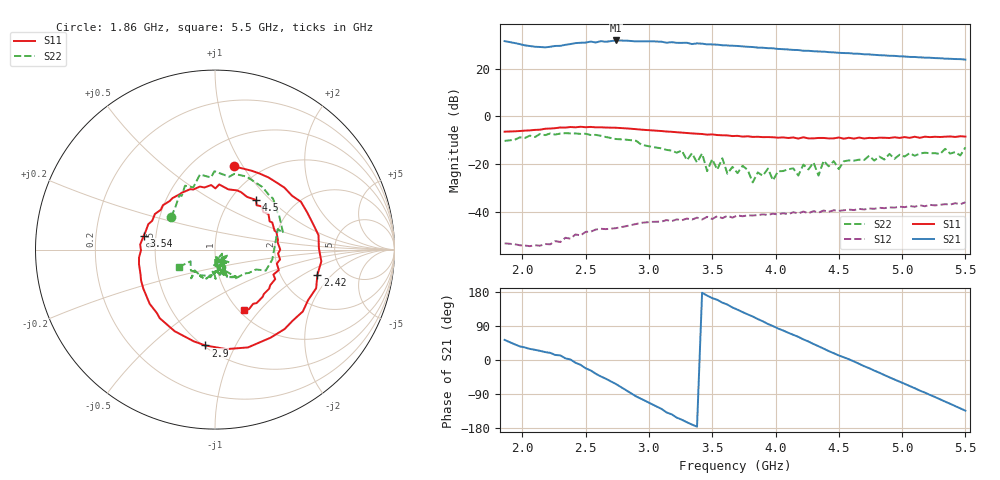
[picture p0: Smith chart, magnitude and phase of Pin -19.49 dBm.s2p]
! RsaToolbox (C) 2015 Rohde & Schwarz America
! Number of points: 86
! Number of ports: 2
! Balanced ports?: No
# Hz S RI R 50
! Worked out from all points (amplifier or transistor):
!   86 points, 1.86 GHz to 5.5 GHz, reference 50 ohm
!   highest |S21| = 31.8 dB at 2.74 GHz (marker M1)
!   |S21| within 3 dB of that: start of sweep to 3.867 GHz
!   unconditionally stable (mu >= 1): start of sweep to end of sweep
!   at 2.46 GHz: K = 2.64, MAG = 33.3 dB, |S12| = -49.9 dB
!   at 3.82 GHz: K = 1.96, MAG = 29.7 dB, |S12| = -41.6 dB
!   at 5.5 GHz: K = 1.74, MAG = 24.9 dB, |S12| = -36.0 dB
!   S11 on the Smith chart (normalised r, x): 1.86 GHz: 0.76, +0.92; 2.42 GHz: 3.21, -1.38; 2.9 GHz: 0.51, -0.77; 3.54 GHz: 0.43, +0.08; 4.5 GHz: 1.30, +0.82; 5.5 GHz: 1.05, -0.83
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1.86e9  0.1069 0.4637  22.6 30.02  -3.98e-05 -0.00218  -0.2446 0.1825
1.98e9  0.247 0.4244  26.36 19.1  -0.000588 -0.00189  -0.1987 0.3025
2.18e9  0.479 0.2661  25.98 9.937  -0.000537 -0.00204  -0.0224 0.4019
2.3e9  0.5767 0.0805  29.27 6.306  -0.000587 -0.00224  0.1074 0.4219
2.42e9  0.5706 -0.1404  33.86 -4.324  -0.00164 -0.00292  0.2643 0.3483
2.5e9  0.5187 -0.2814  32.53 -12.98  -0.0023 -0.00301  0.3233 0.2847
2.54e9  0.4894 -0.3446  32.6 -17.04  -0.00228 -0.00305  0.3487 0.207
2.74e9  0.1838 -0.545  17.33 -34.72  -0.0042 -0.0017  0.333 0.0203
2.82e9  0.063 -0.5544  6.804 -37.89  -0.0049 -0.00091  0.3191 -0.0554
2.9e9  -0.054 -0.5342  -4.043 -36.84  -0.00554 -0.000166  0.2828 -0.1171
3.02e9  -0.225 -0.4546  -16.37 -33.51  -0.00589 0.00165  0.1892 -0.1299
3.1e9  -0.308 -0.3821  -23.05 -28.29  -0.00558 0.00274  0.1655 -0.1332
3.3e9  -0.4122 -0.1711  -33.43 -9.415  -0.00486 0.00532  0.0454 -0.1112
3.54e9  -0.3966 0.0784  -29.58 11.49  -0.00156 0.00794  0.0121 -0.0751
3.7e9  -0.335 0.1982  -20.19 21.82  0.00111 0.0083  0.0218 -0.0606
3.98e9  -0.1379 0.3367  0.1969 26.59  0.00571 0.00708  0.0395 -0.0228
4.3e9  0.0822 0.3346  17.09 15.51  0.01 0.00237  0.0808 -0.0713
4.5e9  0.2285 0.2769  20.91 4.439  0.0103 -0.00168  0.0431 -0.0654
4.66e9  0.2979 0.1987  20.12 -3.534  0.0103 -0.00503  0.0546 -0.1107
4.9e9  0.3484 0.0424  12.94 -13.27  0.00707 -0.0101  0.00367 -0.163
5.22e9  0.3077 -0.1985  -0.6211 -16.85  -0.00112 -0.0139  -0.0843 -0.1452
5.5e9  0.1625 -0.3385  -10.66 -11.1  -0.00911 -0.0129  -0.2008 -0.0965
